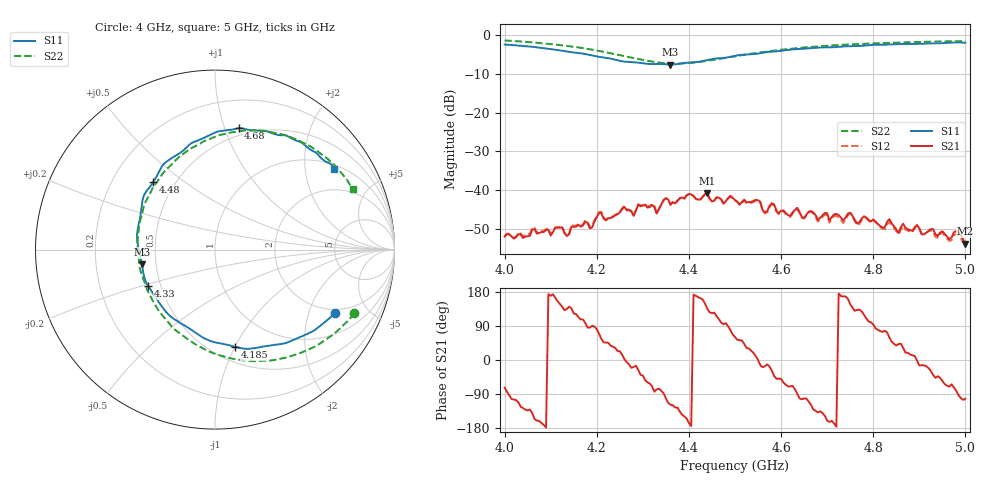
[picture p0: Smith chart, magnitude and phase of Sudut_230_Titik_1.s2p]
# Hz S RI R 50
! CMT, C1220, 16058040, 17.2.0/1
! Date: 15/08/2018 11:35:03
! Data: Format (Calibration Info)
! Freq  S11: Re/Im (F2)  S21: Re/Im (F2)  S12: Re/Im (F2)  S22: Re/Im (F2)
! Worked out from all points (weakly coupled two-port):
!   201 points, 4 GHz to 5 GHz, reference 50 ohm
!   highest |S21| = -40.77 dB at 4.44 GHz (marker M1); lowest = -53.8 dB at 5 GHz (marker M2)
!   lowest |S11| = -7.6 dB at 4.36 GHz (marker M3), VSWR 2.42, Z = 20.8 - j4.14 ohm
!   |S11| at or under -10 dB: nowhere
!   |S22| runs from -7.4 to -1.4 dB; largest |S21 - S12| = 0.00035
!   S11 on the Smith chart (normalised r, x): 4 GHz: 1.80, -3.00; 4.185 GHz: 0.64, -1.00; 4.33 GHz: 0.43, -0.21; 4.48 GHz: 0.38, +0.39; 4.68 GHz: 0.43, +1.12; 5 GHz: 1.15, +2.84
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4e9  0.6674 -0.3558  0.000748 -0.0024  0.000833 -0.00242  0.7756 -0.3539
4.125e9  0.3326 -0.5305  -0.00256 0.00211  -0.00264 0.00209  0.4474 -0.5856
4.135e9  0.2958 -0.5368  -0.0018 0.00183  -0.00189 0.00179  0.4122 -0.597
4.17e9  0.1662 -0.5524  -0.00103 0.00335  -0.00115 0.00344  0.2737 -0.6195
4.185e9  0.113 -0.5423  0.000247 0.00321  0.000231 0.00332  0.2099 -0.6215
4.205e9  0.032 -0.5232  0.0018 0.00471  0.00185 0.00489  0.1215 -0.6121
4.22e9  -0.0272 -0.5088  0.00282 0.00294  0.00288 0.00302  0.0536 -0.597
4.26e9  -0.1715 -0.4217  0.00609 0.000224  0.00622 0.000304  -0.1166 -0.5229
4.33e9  -0.3726 -0.2024  0.00108 -0.00487  0.00102 -0.00494  -0.3549 -0.2701
4.335e9  -0.383 -0.1846  0.0014 -0.00552  0.0013 -0.00566  -0.3671 -0.2467
4.36e9  -0.4069 -0.0822  -0.00306 -0.00571  -0.00315 -0.00571  -0.4132 -0.1263
4.44e9  -0.4067 0.2513  -0.00649 0.00646  -0.00637 0.0064  -0.3886 0.2621
4.48e9  -0.3438 0.3774  -0.000907 0.00714  -0.000659 0.00712  -0.3002 0.4112
4.5e9  -0.3043 0.4474  0.00365 0.00652  0.00372 0.00631  -0.2449 0.4712
4.67e9  0.1118 0.6718  -0.00336 -0.0039  -0.00334 -0.00368  0.2473 0.6631
4.68e9  0.1311 0.6764  -0.00308 -0.00277  -0.00297 -0.00258  0.2714 0.6603
4.835e9  0.444 0.6108  0.00215 0.00364  0.00205 0.00331  0.5823 0.5398
4.855e9  0.4759 0.6  0.00208 0.00188  0.00198 0.00181  0.6122 0.5175
4.895e9  0.5335 0.5559  0.00356 -7.59e-05  0.00345 6.5e-05  0.6645 0.4718
4.965e9  0.6339 0.4831  0.000787 -0.00219  0.0007 -0.0021  0.7383 0.3844
4.98e9  0.6462 0.4763  0.000471 -0.00293  0.000388 -0.00267  0.7499 0.3638
5e9  0.6612 0.4484  -0.000438 -0.00199  -0.000363 -0.00186  0.7681 0.3373
